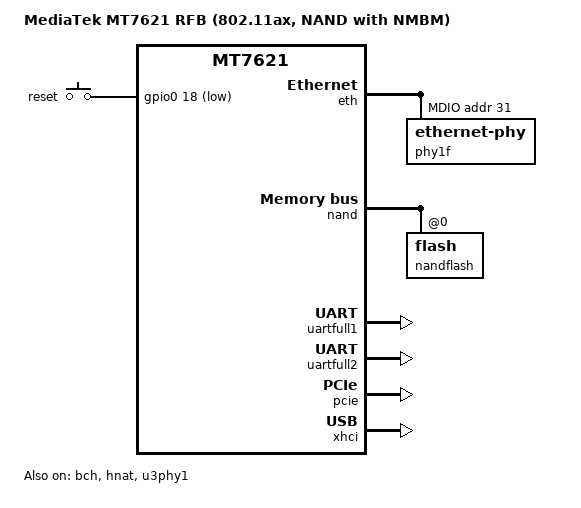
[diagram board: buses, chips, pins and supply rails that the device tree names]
/dts-v1/;

#include "mt7621.dtsi"
#include <dt-bindings/input/input.h>

/ {
	compatible = "mediatek,mt7621-rfb-ax-nmbm", "mediatek,mt7621-soc";
	model = "MediaTek MT7621 RFB (802.11ax, NAND with NMBM)";

	chosen {
		bootargs = "console=ttyS0,115200";
	};

	gpio-keys-polled {
		compatible = "gpio-keys-polled";
		#address-cells = <1>;
		#size-cells = <0>;
		poll-interval = <20>;

		reset {
			label = "reset";
			gpios = <&gpio0 18 1>;
			linux,code = <KEY_RESTART>;
		};
	};

	nmbm {
		compatible = "generic,nmbm";

		#address-cells = <1>;
		#size-cells = <1>;

		lower-mtd-device = <&nandflash>;
		forced-create;

		partitions {
			compatible = "fixed-partitions";
			#address-cells = <1>;
			#size-cells = <1>;

			partition@0 {
				label = "Bootloader";
				reg = <0x00000 0xe0000>;
				read-only;
			};

			partition@E0000 {
				label = "nvram";
				reg = <0xE0000 0x100000>;
			};

			partition@1E00000 {
				label = "Factory";
				reg = <0x1E0000 0x100000>;
			};

			partition@2E0000  {
				label = "Factory2";
				reg = <0x2E0000 0x100000>;
			};

			partition@3E0000 {
				label = "Kernel";
				reg = <0x3E0000 0x3200000>;
			};

			partition@35E0000 {
				label = "Kernel2";
				reg = <0x35E0000 0x3200000>;
			};

			partition@67E0000 {
				label = "jffs2";
				reg = <0x67E0000 0x1020000>;
			};
		};
	};
};

&bch {
	status = "okay";
};

&eth {
        status = "okay";

        gmac0: mac@0 {
                compatible = "mediatek,eth-mac";
                reg = <0>;
                phy-mode = "trgmii";
                fixed-link {
                        speed = <1000>;
                        full-duplex;
                        pause;
                };
        };

        gmac1: mac@1 {
                compatible = "mediatek,eth-mac";
                reg = <1>;
                phy-mode = "rgmii";
                fixed-link {
                        speed = <1000>;
                        full-duplex;
                        pause;
                };
        };

        mdio: mdio-bus {
                #address-cells = <1>;
                #size-cells = <0>;

                phy1f: ethernet-phy@1f {
                        reg = <0x1f>;
                        phy-mode = "rgmii";
                };
        };
};

&gsw {
        mediatek,mdio = <&mdio>;
        mediatek,portmap = "llllw";
        mediatek,mcm;
	mt7530,direct-phy-access;

        resets = <&rstctrl 2>;
        reset-names = "mcm";

        port5: port@5 {
                compatible = "mediatek,mt753x-port";
                reg = <5>;
                phy-mode = "rgmii";
                fixed-link {
                        speed = <1000>;
                        full-duplex;
                };
        };

        port6: port@6 {
                compatible = "mediatek,mt753x-port";
                reg = <6>;
                phy-mode = "trgmii";
                fixed-link {
                        speed = <1000>;
                        full-duplex;
                };
        };

        mdio-bus {
                #address-cells = <1>;
                #size-cells = <0>;
        };
};

&hnat {
        mtketh-wan = "eth1";
        mtketh-ppd = "vlan1";
        ext-devices = "rai0", "ra0", "rai1", "ra1", "rai2", "ra2", "rai3", "ra3", "apclii0", "apcli0";
        mtketh-max-gmac = <2>;
        status = "okay";
};

&nand {
	status = "okay";

	nandflash: flash@0 {
		reg = <0>;
		nand-ecc-mode = "hw";
		partitions {
			compatible = "fixed-partitions";
			#address-cells = <1>;
			#size-cells = <1>;
		};
	};
};

&pinctrl {
	state_default: pinctrl0 {
		gpio {
			mtk,group = "i2c";
			mtk,function = "gpio";
		};

		uart2 {
			mtk,group = "uart2";
			mtk,function = "gpio";
		};

		uart3 {
			mtk,group = "uart3";
			mtk,function = "gpio";
		};

		jtag {
			mtk,group = "jtag";
			mtk,function = "gpio";
		};

		wdt {
			mtk,group = "wdt";
			mtk,function = "gpio";
		};
	};
};

&uartfull1 {
	status = "okay";
};

&uartfull2 {
	status = "okay";
};

&pcie {
	status = "okay";
};

&u3phy1 {
	status = "okay";
};

&xhci {
	status = "okay";
};
